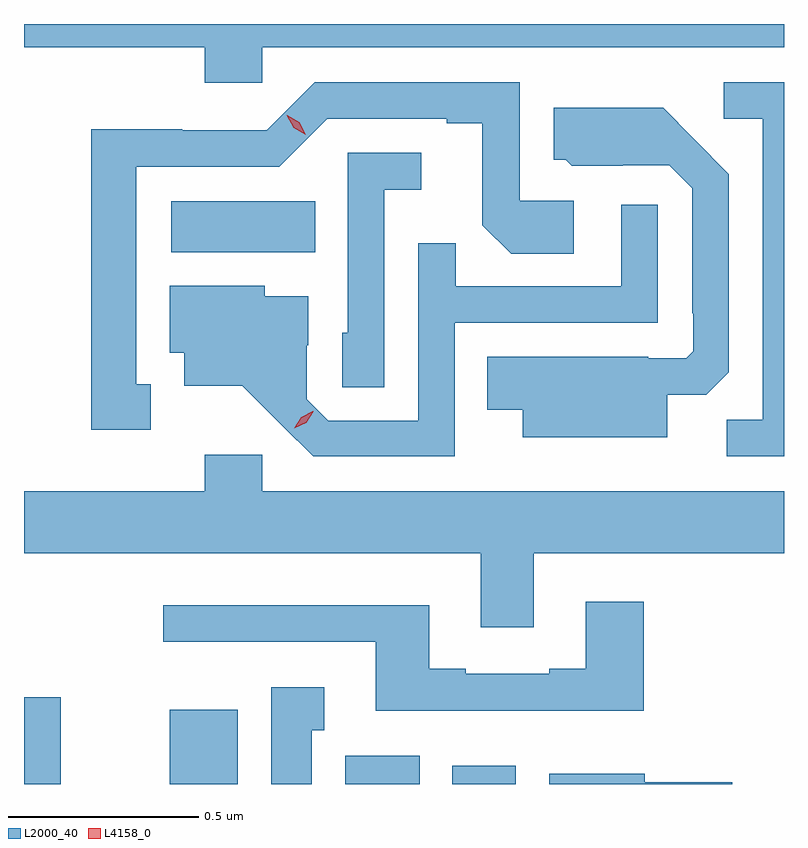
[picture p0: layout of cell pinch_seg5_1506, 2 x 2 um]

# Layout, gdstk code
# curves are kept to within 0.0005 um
import gdstk
lib = gdstk.Library(unit=1e-6, precision=1e-09)
def R(c, l, rs):  # rectangles x0, y0, x1, y1
    for r in rs: c.add(gdstk.rectangle(r[:2], r[2:], *l))
def P(c, l, *ps):  # polygons
    for p in ps: c.add(gdstk.Polygon(p, *l))
L2000_40 = (2000, 40)
L4158_0 = (4158, 0)

pinch_seg5_1506 = lib.new_cell('pinch_seg5_1506')
R(pinch_seg5_1506, L2000_40, [(114.567,886.789,114.664,887.017), (114.95,886.789,115.129,886.984), (115.412,886.789,115.609,886.864), (115.694,886.789,115.861,886.837), (114.954,888.188,115.334,888.322)])
P(pinch_seg5_1506, L2000_40, [(115.194,888.728),(116.567,888.728),(116.567,888.789),(114.567,888.789),(114.567,888.728),(115.043,888.728),(115.043,888.635),(115.194,888.635)],
  [(116.567,888.636),(116.409,888.636),(116.409,888.54),(116.511,888.54),(116.511,887.747),(116.416,887.747),(116.416,887.652),(116.567,887.652)],
  [(114.901,887.841),(114.862,887.841),(114.862,888.414),(115.239,888.414),(115.365,888.54),(115.679,888.54),(115.679,888.528),(115.773,888.528),(115.773,888.26),(115.849,888.184),(116.014,888.184),(116.014,888.324),(115.872,888.324),(115.872,888.636),(115.332,888.636),(115.206,888.51),(114.984,888.51),(114.984,888.512),(114.744,888.512),(114.744,887.721),(114.901,887.721)],
  [(116.26,887.813),(116.362,887.813),(116.421,887.872),(116.421,888.394),(116.249,888.568),(115.961,888.568),(115.961,888.432),(115.992,888.432),(116.008,888.416),(116.142,888.416),(116.142,888.417),(116.265,888.417),(116.325,888.357),(116.325,888.028),(116.328,888.028),(116.328,887.928),(116.31,887.91),(116.21,887.91),(116.21,887.914),(115.786,887.914),(115.786,887.774),(115.88,887.774),(115.88,887.702),(116.26,887.702)],
  [(115.515,888.353),(115.612,888.353),(115.612,888.45),(115.419,888.45),(115.419,887.976),(115.404,887.976),(115.404,887.833),(115.515,887.833)],
  [(115.701,888.003),(116.235,888.003),(116.235,888.313),(116.139,888.313),(116.139,888.099),(115.703,888.099),(115.703,888.212),(115.605,888.212),(115.605,887.745),(115.368,887.745),(115.311,887.802),(115.311,887.944),(115.315,887.944),(115.315,888.073),(115.2,888.073),(115.2,888.1),(114.95,888.1),(114.95,887.924),(114.989,887.924),(114.989,887.837),(115.141,887.837),(115.328,887.652),(115.701,887.652)],
  [(115.909,887.396),(116.567,887.396),(116.567,887.56),(115.194,887.56),(115.194,887.656),(115.043,887.656),(115.043,887.56),(114.567,887.56),(114.567,887.396),(115.769,887.396),(115.769,887.202),(115.909,887.202)],
  [(116.198,887.269),(116.045,887.269),(116.045,887.092),(115.949,887.092),(115.949,887.079),(115.729,887.079),(115.729,887.092),(115.633,887.092),(115.633,887.26),(114.933,887.26),(114.933,887.163),(115.493,887.163),(115.493,886.982),(116.198,886.982)],
  [(115.324,886.931),(115.357,886.931),(115.357,887.044),(115.217,887.044),(115.217,886.789),(115.324,886.789)],
  [(116.431,886.793),(116.2,886.793),(116.2,886.816),(115.949,886.816),(115.949,886.789),(116.431,886.789)])
P(pinch_seg5_1506, L4158_0, [(115.278,887.725),(115.278,887.725),(115.296,887.754),(115.327,887.77),(115.328,887.77),(115.328,887.769),(115.31,887.74),(115.278,887.725)],
  [(115.308,888.497),(115.277,888.516),(115.259,888.549),(115.259,888.549),(115.26,888.549),(115.291,888.53),(115.309,888.498),(115.309,888.497)])

lib.write_gds('pinch_seg5_1506.gds')
